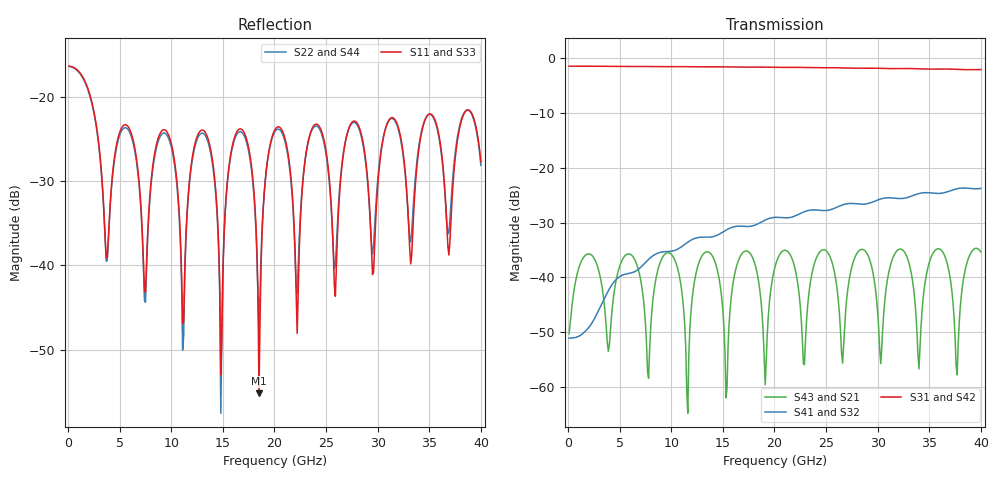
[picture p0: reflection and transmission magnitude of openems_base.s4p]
! T_ts6_broadside_o5: Broadside: In2 over In3 across the 0.93 mm core, lateral offset 0.5 mm, 20 mm
! stackup: ThunderScope Rev5.3 6-layer (FR408HR / FR-4, from the board file)
! ports: 1 near A, 2 near B, 3 far A, 4 far B
! openEMS 0.37.0, staircase, base mesh (dfine 0.035 mm), 688800 cells
# Hz S RI R 50
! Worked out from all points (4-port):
!   400 points, 100 MHz to 40 GHz, reference 50 ohm
!   strongest paths, dB at 100 MHz, 10.1 GHz, 20.1 GHz, 30.1 GHz, 40 GHz:
!     S31: -1.4, -1.5, -1.7, -1.8, -2.0
!     S42: -1.4, -1.5, -1.7, -1.9, -2.2
!     S41: -51.1, -35.2, -29.0, -25.8, -23.7
!     S32: -51.1, -35.2, -29.0, -25.8, -23.7
!     S43: -50.3, -36.0, -37.7, -49.4, -35.4
!     S21: -50.3, -36.0, -37.7, -49.4, -35.4
!   lowest |S11| = -55.2 dB at 18.5 GHz (marker M1), VSWR 1.00, Z = 50.1 + j0.0923 ohm
!   |S11| at or under -10 dB: start of sweep to end of sweep
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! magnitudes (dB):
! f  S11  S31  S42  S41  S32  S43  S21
! 100 MHz  -16.4  -1.4  -1.4  -51.1  -51.1  -50.3  -50.3
! 13.4 GHz  -24.5  -1.6  -1.6  -32.7  -32.7  -35.3  -35.3
! 14.8 GHz  -53.0  -1.6  -1.6  -31.9  -31.9  -42.3  -42.3
! 17 GHz  -24.1  -1.6  -1.6  -30.7  -30.7  -35.4  -35.4
! 18.5 GHz  -55.2  -1.6  -1.6  -30.1  -30.1  -41.2  -41.2
! 20.2 GHz  -23.7  -1.7  -1.7  -29.0  -29.0  -37.1  -37.1
! 40 GHz  -27.7  -2.0  -2.2  -23.7  -23.7  -35.4  -35.4
